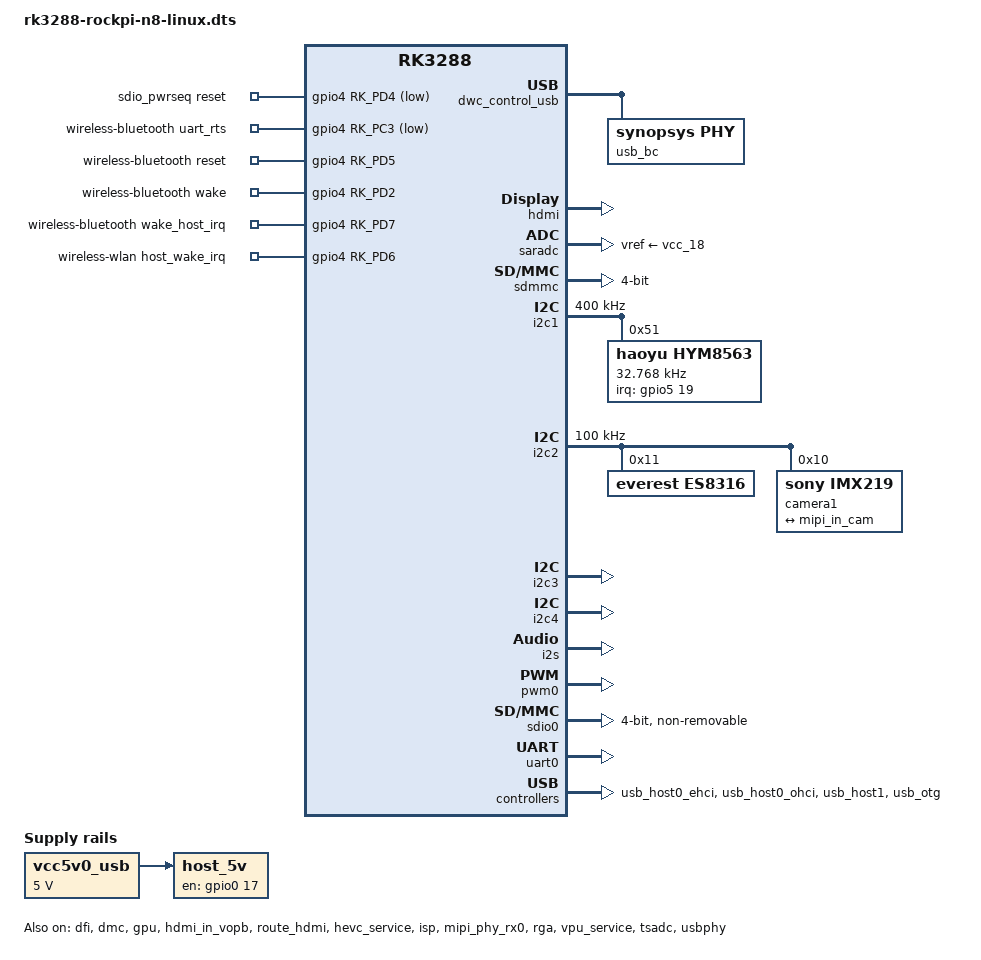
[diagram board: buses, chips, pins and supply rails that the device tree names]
// SPDX-License-Identifier: (GPL-2.0+ OR MIT)
// Copyright (c) 2018 Fuzhou Rockchip Electronics Co., Ltd

/dts-v1/;
#include "rk3288-vmarc-som.dtsi"
#include "rk3288-linux.dtsi"
#include "rk3288-rkisp1.dtsi"

/ {
	compatible = "rockchip,rk3288-rockpi-n8-linux", "rockchip,rk3288";

	/delete-node/ chosen;

	sound: sound {
		status = "okay";
		compatible = "simple-audio-card";
		simple-audio-card,format = "i2s";
		simple-audio-card,name = "rockchip,es8316-codec";
		simple-audio-card,mclk-fs = <256>;

		simple-audio-card,widgets =
			"Microphone", "Mic Jack",
			"Headphone","Headphone Jack";
		simple-audio-card,routing =
			"Mic Jack", "MICBIAS1",
			"IN1P", "Mic Jack",
			"Headphone Jack", "HPOL",
			"Headphone Jack", "HPOR";

		simple-audio-card,dai-link@0 {
			format = "i2s";
			cpu {
				sound-dai = <&i2s>;
			};

			codec {
				sound-dai = <&es8316>;
			};
		};

		simple-audio-card,dai-link@1 {
			format = "i2s";
			cpu {
				sound-dai = <&i2s>;
			};

			codec {
				sound-dai = <&hdmi>;
			};
		};
	};

	sdio_pwrseq: sdio-pwrseq {
		compatible = "mmc-pwrseq-simple";
		clocks = <&rk808 1>;
		clock-names = "ext_clock";
		pinctrl-names = "default";
		pinctrl-0 = <&wifi_enable_h>;

		/*
		 * On the module itself this is one of these (depending
		 * on the actual card populated):
		 * - SDIO_RESET_L_WL_REG_ON
		 * - PDN (power down when low)
		 */
		reset-gpios = <&gpio4 RK_PD4 GPIO_ACTIVE_LOW>;
	};

	vcc5v0_usb: vcc5v0-usb {
		compatible = "regulator-fixed";
		regulator-name = "vcc5v0_usb";
		regulator-always-on;
		regulator-boot-on;
		regulator-min-microvolt = <5000000>;
		regulator-max-microvolt = <5000000>;
	};

	host_5v: host-5v {
		compatible = "regulator-fixed";
		enable-active-high;
		gpio = <&gpio0 17 GPIO_ACTIVE_HIGH>;
		pinctrl-names = "default";
		pinctrl-0 = <&usb1_en_oc>;
		regulator-name = "host_5v";
		regulator-always-on;
		regulator-boot-on;
		vin-supply = <&vcc5v0_usb>;
	};

	wireless-bluetooth {
		compatible = "bluetooth-platdata";
		uart_rts_gpios = <&gpio4 RK_PC3 GPIO_ACTIVE_LOW>;
		pinctrl-names = "default", "rts_gpio";
		pinctrl-0 = <&uart0_rts>;
		pinctrl-1 = <&uart0_gpios>;
		BT,reset_gpio    = <&gpio4 RK_PD5 GPIO_ACTIVE_HIGH>;
		BT,wake_gpio     = <&gpio4 RK_PD2 GPIO_ACTIVE_HIGH>;
		BT,wake_host_irq = <&gpio4 RK_PD7 GPIO_ACTIVE_HIGH>;
		status = "okay";
	};

	wireless-wlan {
		compatible = "wlan-platdata";
		rockchip,grf = <&grf>;
		wifi_chip_type = "ap6256";
		sdio_vref = <1800>;
		WIFI,host_wake_irq = <&gpio4 RK_PD6 GPIO_ACTIVE_HIGH>;
		status = "okay";
	};

	dwc_control_usb: dwc-control-usb@ff770284 {
		compatible = "rockchip,rk3288-dwc-control-usb";
		status = "okay";
		reg = <0x0 0xff770284 0x0 0x04>, <0x0 0xff770288 0x0 0x04>,
			<0x0 0xff7702cc 0x0 0x04>, <0x0 0xff7702d4 0x0 0x04>,
			<0x0 0xff770320 0x0 0x14>, <0x0 0xff770334 0x0 0x14>,
			<0x0 0xff770348 0x0 0x10>, <0x0 0xff770358 0x0 0x08>,
			<0x0 0xff770360 0x0 0x08>;
		reg-names = "GRF_SOC_STATUS1" ,"GRF_SOC_STATUS2",
					"GRF_SOC_STATUS19", "GRF_SOC_STATUS21",
					"GRF_UOC0_BASE", "GRF_UOC1_BASE",
					"GRF_UOC2_BASE", "GRF_UOC3_BASE",
					"GRF_UOC4_BASE";
		interrupts = <GIC_SPI 93 IRQ_TYPE_LEVEL_HIGH>,
					<GIC_SPI 94 IRQ_TYPE_LEVEL_HIGH>,
					<GIC_SPI 95 IRQ_TYPE_LEVEL_HIGH>,
					<GIC_SPI 96 IRQ_TYPE_LEVEL_HIGH>,
					<GIC_SPI 97 IRQ_TYPE_LEVEL_HIGH>;
		interrupt-names = "otg_id", "otg_bvalid",
					"otg_linestate", "host0_linestate",
					"host1_linestate";
		clocks = <&cru HCLK_USB_PERI>;
		clock-names = "hclk_usb_peri";

		pinctrl-names = "default";
		pinctrl-0 = <&usb0_en_oc>;
		otg_drv_gpio = <&gpio0 13 GPIO_ACTIVE_HIGH>;
		rockchip,remote_wakeup;
		rockchip,usb_irq_wakeup;

		usb_bc {
			compatible = "synopsys,phy";
			rk_usb,bvalid     = <0x288 14 1>;
			rk_usb,iddig      = <0x288 17 1>;
			rk_usb,dcdenb     = <0x328 14 1>;
			rk_usb,vdatsrcenb = <0x328  7 1>;
			rk_usb,vdatdetenb = <0x328  6 1>;
			rk_usb,chrgsel    = <0x328  5 1>;
			rk_usb,chgdet     = <0x2cc 23 1>;
			rk_usb,fsvminus   = <0x2cc 25 1>;
			rk_usb,fsvplus    = <0x2cc 24 1>;
		};
	};
};

&dfi {
	status = "okay";
};

&dmc {
	status = "okay";
};

&hdmi {
	#address-cells = <1>;
	#size-cells = <0>;
	#sound-dai-cells = <0>;
	status = "okay";
};

&saradc {
	vref-supply = <&vcc_18>;
	status = "okay";
};

&gpu {
	status = "okay";
	mali-supply = <&vdd_gpu>;
};

&hdmi_in_vopl {
	status = "disabled";
};

&hdmi_in_vopb {
	status = "okay";
};

&route_hdmi{
	status = "okay";
};

&sdmmc {
	supports-sd;
	bus-width = <4>;
	cap-mmc-highspeed;
	sd-uhs-sdr12;
	sd-uhs-sdr25;
	sd-uhs-sdr50;
	sd-uhs-sdr104;
	cap-sd-highspeed;
	card-detect-delay = <200>;
	disable-wp;			/* wp not hooked up */
	num-slots = <1>;
	pinctrl-names = "default";
	pinctrl-0 = <&sdmmc_clk &sdmmc_cmd &sdmmc_cd &sdmmc_bus4>;
	status = "okay";
	//vmmc-supply = <&vcc_sd>;
	vqmmc-supply = <&vccio_sd>;
	supports-sd;
};

&i2c1 {
	status = "okay";
	clock-frequency = <400000>;

	hym8563: hym8563@51 {
		compatible = "haoyu,hym8563";
		reg = <0x51>;
		#clock-cells = <0>;
		clock-frequency = <32768>;
		clock-output-names = "xin32k";
		pinctrl-names = "default";
		pinctrl-0 = <&hym8563_int>;
		interrupt-parent = <&gpio5>;
		interrupts = <19 IRQ_TYPE_LEVEL_LOW>;
	};
};

&rk808_rtc{
	status = "disabled";
};

&hevc_service {
	status = "okay";
};

&i2c2 {
	status = "okay";
	i2c-scl-rising-time-ns = <300>;
	i2c-scl-falling-time-ns = <15>;
	clock-frequency = <100000>;

	es8316: es8316@11 {
		status = "okay";
		#sound-dai-cells = <0>;
		compatible = "everest,es8316";
		reg = <0x11>;
		clocks = <&cru SCLK_I2S0_OUT>;
		clock-names = "mclk";
		//spk-con-gpio = <&gpio2 3 GPIO_ACTIVE_HIGH>;
	//	hp-det-gpio = <&gpio2 3 GPIO_ACTIVE_LOW>;
		pinctrl-names = "default";
		pinctrl-0 = <&i2s0_mclk>;
	};

	camera1: camera-module@10 {
		status = "okay";
		compatible = "sony,imx219";
		reg = <0x10>;

		clocks = <&cru SCLK_VIP_OUT>;
		clock-names = "clk_cif_out";
		rockchip,camera-module-index = <0>;
		rockchip,camera-module-facing = "back";
		rockchip,camera-module-name = "imx219";
		rockchip,camera-module-lens-name = "none";

		port {
			cam_out: endpoint {
				remote-endpoint = <&mipi_in_cam>;
				data-lanes = <1 2>;
			};
		};
	};
};

&i2c3 {
	status = "okay";
};

&i2c4 {
	status = "okay";
};

&isp {
	status = "okay";

	port {
		isp_mipi_in: endpoint {
			remote-endpoint = <&dphy_rx0_out>;
		};
	};
};

&isp_mmu {
	status = "okay";
};

&mipi_phy_rx0 {
	status = "okay";

	ports {
		#address-cells = <1>;
		#size-cells = <0>;

		port@0 {
			reg = <0>;

			mipi_in_cam: endpoint {
				remote-endpoint = <&cam_out>;
				data-lanes = <1 2>;
			};
		};

		port@1 {
			reg = <1>;

			dphy_rx0_out: endpoint {
				remote-endpoint = <&isp_mipi_in>;
			};
		};
	};
};

&i2s {
	#sound-dai-cells = <0>;
	status = "okay";
};

&pwm0 {
	status = "okay";
	pinctrl-names = "default";
	pinctrl-0 = <&pwm0_pin>;
	interrupts = <GIC_SPI 78 IRQ_TYPE_LEVEL_HIGH>;
	compatible = "rockchip,remotectl-pwm";
	remote_pwm_id = <0>;
	handle_cpu_id = <0>;

	ir_key1 {
		rockchip,usercode = <0xff00>;
		rockchip,key_table =
			<0xbd	KEY_HOME>,
			<0xf8	KEY_BACK>,
			<0xbe	KEY_MENU>,
			<0xb9	KEY_UP>,
			<0xbb	KEY_DOWN>,
			<0xbe	KEY_LEFT>,
			<0xb6	KEY_RIGHT>,
			<0xbf	KEY_VOLUMEUP>,
			<0xfc	KEY_VOLUMEDOWN>,
			<0xba	KEY_ENTER>,
			<0xbc	KEY_POWER>;
	};
};

&rga {
	status = "okay";
};

&sdio0 {
	status = "okay";
	max-frequency = <150000000>;

	bus-width = <4>;
	cap-sd-highspeed;
	cap-sdio-irq;
	disable-wp;
	keep-power-in-suspend;
	mmc-pwrseq = <&sdio_pwrseq>;
	non-removable;
	num-slots = <1>;
	pinctrl-names = "default";
	pinctrl-0 = <&sdio0_bus4 &sdio0_cmd &sdio0_clk &sdio0_int>;
	sd-uhs-sdr104;
	supports-sdio;
};

&uart0 {
	pinctrl-names = "default";
	pinctrl-0 = <&uart0_xfer &uart0_cts>;
	status = "okay";
};

&uart2 {
	status = "disabled";
};

&vpu_service {
	status = "okay";
};

&tsadc {
	rockchip,hw-tshut-polarity = <0>; /* tshut polarity 0:LOW 1:HIGH */
	status = "okay";
};

&vopb {
	assigned-clocks = <&cru DCLK_VOP0>;
	assigned-clock-parents = <&cru PLL_GPLL>;
};

&vopl {
	assigned-clocks = <&cru DCLK_VOP1>;
	assigned-clock-parents = <&cru PLL_CPLL>;
};

&usbphy {
	status = "okay";
};

&usb_host0_ehci {
	rockchip-relinquish-port;
	//no-relinquish-port;
	status = "okay";
};

&usb_host0_ohci {
	status = "okay";
};

&usb_host1 {
	status = "okay";
};

&usb_otg {
	compatible = "rockchip,rk3288_usb20_otg";
	clocks = <&usbphy0>, <&cru HCLK_OTG0>;
	clock-names = "clk_usbphy0", "hclk_usb0";
	resets = <&cru SRST_USBOTG_AHB>,
		 <&cru SRST_USBOTG_PHY>,
		 <&cru SRST_USBOTG_CON>;
	reset-names = "otg_ahb", "otg_phy", "otg_controller";
	/*0 - Normal, 1 - Force Host, 2 - Force Device*/
	rockchip,usb-mode = <0>;
	status = "okay";
};

&pinctrl {
	hym8563 {
		hym8563_int: hym8563-int {
			rockchip,pins =
				<5 RK_PC3 0 &pcfg_pull_up>;
		};
	};

	sdio-pwrseq {
		wifi_enable_h: wifi-enable-h {
			rockchip,pins =
				<4 RK_PD4 0 &pcfg_pull_none>;
		};
	};

	host_5v {
		usb1_en_oc: usb1-en-oc {
			rockchip,pins =
				<0 17 RK_FUNC_GPIO &pcfg_pull_none_12ma>;
		};
	};

	vbus_typec {
		usb0_en_oc: usb0-en-oc {
			rockchip,pins =
				<0 13 RK_FUNC_GPIO &pcfg_pull_up>;
		};
	};

	sdmmc {
		sdmmc_bus4: sdmmc-bus4 {
			rockchip,pins =
				<6 16 RK_FUNC_1 &pcfg_pull_up_drv_8ma>,
				<6 17 RK_FUNC_1 &pcfg_pull_up_drv_8ma>,
				<6 18 RK_FUNC_1 &pcfg_pull_up_drv_8ma>,
				<6 19 RK_FUNC_1 &pcfg_pull_up_drv_8ma>;
		};

		sdmmc_clk: sdmmc-clk {
			rockchip,pins =
				<6 20 RK_FUNC_1 &pcfg_pull_none_drv_8ma>;
		};

		sdmmc_cmd: sdmmc-cmd {
			rockchip,pins =
				<6 21 RK_FUNC_1 &pcfg_pull_up_drv_8ma>;
		};
	};

	wireless-bluetooth {
		uart0_gpios: uart0-gpios {
			rockchip,pins =
				<4 RK_PC3 0 &pcfg_pull_none>;
		};
	};

	backlight {
		bl_en: bl-en {
			rockchip,pins =
				<2 6 RK_FUNC_GPIO &pcfg_pull_none>;// eDP
		};
	};
};

/* DON'T PUT ANYTHING BELOW HERE.  PUT IT ABOVE PINCTRL */
/* DON'T PUT ANYTHING BELOW HERE.  PUT IT ABOVE PINCTRL */
/* DON'T PUT ANYTHING BELOW HERE.  PUT IT ABOVE PINCTRL */
